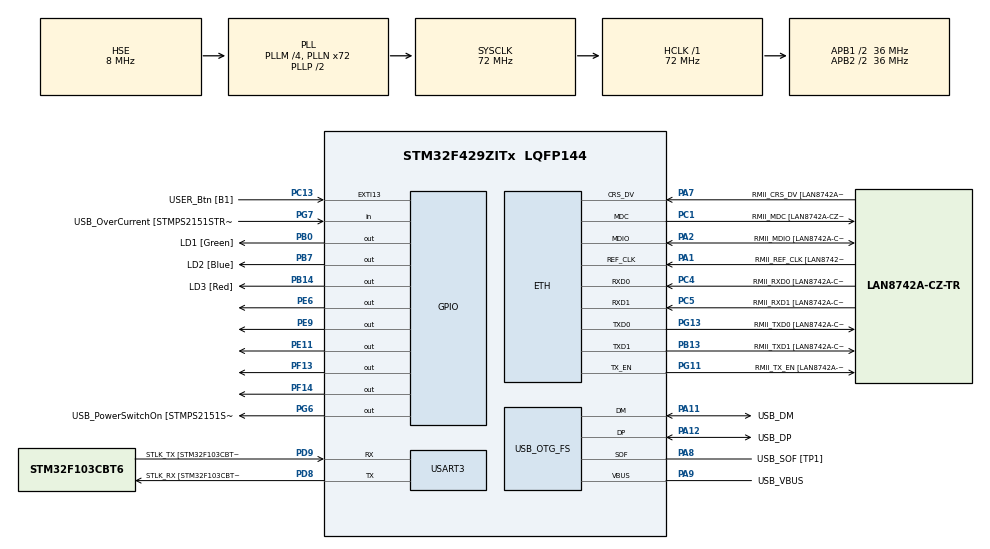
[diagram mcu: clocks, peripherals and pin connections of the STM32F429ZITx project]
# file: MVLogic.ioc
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ETH.MediaInterface=ETH_MEDIA_INTERFACE_RMII
ETH.PHY_Name=LAN8742A_PHY_ADDRESS
ETH.PHY_Value=0
ETH.PhyAddress=0
Mcu.Family=STM32F4
Mcu.Name=STM32F429ZITx
Mcu.Package=LQFP144
NVIC.PriorityGroup=NVIC_PRIORITYGROUP_4
NVIC.TIM3_IRQn=true\:0\:0\:false\:false\:true\:true\:true
NVIC.TIM4_IRQn=true\:0\:0\:false\:false\:true\:true\:true
NVIC.USART3_IRQn=true\:0\:0\:false\:true\:true\:1\:true\:true
PA1.GPIO_Label=RMII_REF_CLK [LAN8742A-CZ-TR_REFCLK0]
PA1.Mode=RMII
PA1.Signal=ETH_REF_CLK
PA10.GPIO_Label=USB_ID
PA10.Signal=USB_OTG_FS_ID
PA11.GPIO_Label=USB_DM
PA11.Mode=Device_Only
PA11.Signal=USB_OTG_FS_DM
PA12.GPIO_Label=USB_DP
PA12.Mode=Device_Only
PA12.Signal=USB_OTG_FS_DP
PA13.GPIO_Label=TMS
PA13.Mode=Serial_Wire
PA13.Signal=SYS_JTMS-SWDIO
PA14.GPIO_Label=TCK
PA14.Mode=Serial_Wire
PA14.Signal=SYS_JTCK-SWCLK
PA2.GPIO_Label=RMII_MDIO [LAN8742A-CZ-TR_MDIO]
PA2.Mode=RMII
PA2.Signal=ETH_MDIO
PA7.GPIO_Label=RMII_CRS_DV [LAN8742A-CZ-TR_CRS_DV]
PA7.Mode=RMII
PA7.Signal=ETH_CRS_DV
PA8.GPIO_Label=USB_SOF [TP1]
PA8.Mode=Activate_SOF_FS
PA8.Signal=USB_OTG_FS_SOF
PA9.GPIO_Label=USB_VBUS
PA9.Mode=Activate_VBUS
PA9.Signal=USB_OTG_FS_VBUS
PB0.GPIO_Label=LD1 [Green]
PB0.Signal=GPIO_Output
PB13.GPIO_Label=RMII_TXD1 [LAN8742A-CZ-TR_TXD1]
PB13.Mode=RMII
PB13.Signal=ETH_TXD1
PB14.GPIO_Label=LD3 [Red]
PB14.Signal=GPIO_Output
PB7.GPIO_Label=LD2 [Blue]
PB7.Signal=GPIO_Output
PC1.GPIO_Label=RMII_MDC [LAN8742A-CZ-TR_MDC]
PC1.Mode=RMII
PC1.Signal=ETH_MDC
PC13.GPIO_Label=USER_Btn [B1]
PC13.Signal=GPXTI13
PC14/OSC32_IN.Mode=LSE-External-Oscillator
PC14/OSC32_IN.Signal=RCC_OSC32_IN
PC15/OSC32_OUT.Mode=LSE-External-Oscillator
PC15/OSC32_OUT.Signal=RCC_OSC32_OUT
PC4.GPIO_Label=RMII_RXD0 [LAN8742A-CZ-TR_RXD0]
PC4.Mode=RMII
PC4.Signal=ETH_RXD0
PC5.GPIO_Label=RMII_RXD1 [LAN8742A-CZ-TR_RXD1]
PC5.Mode=RMII
PC5.Signal=ETH_RXD1
PD8.GPIO_Label=STLK_RX [STM32F103CBT6_PA3]
PD8.Mode=Asynchronous
PD8.Signal=USART3_TX
PD9.GPIO_Label=STLK_TX [STM32F103CBT6_PA2]
PD9.Mode=Asynchronous
PD9.Signal=USART3_RX
PE11.Signal=GPIO_Output
PE6.Signal=GPIO_Output
PE9.Signal=GPIO_Output
PF13.Signal=GPIO_Output
PF14.Signal=GPIO_Output
PG11.GPIO_Label=RMII_TX_EN [LAN8742A-CZ-TR_TXEN]
PG11.Mode=RMII
PG11.Signal=ETH_TX_EN
PG13.GPIO_Label=RMII_TXD0 [LAN8742A-CZ-TR_TXD0]
PG13.Mode=RMII
PG13.Signal=ETH_TXD0
PG6.GPIO_Label=USB_PowerSwitchOn [STMPS2151STR_EN]
PG6.Signal=GPIO_Output
PG7.GPIO_Label=USB_OverCurrent [STMPS2151STR_FAULT]
PG7.Signal=GPIO_Input
PH0/OSC_IN.GPIO_Label=MCO [STM32F103CBT6_PA8]
PH0/OSC_IN.Mode=HSE-External-Clock-Source
PH0/OSC_IN.Signal=RCC_OSC_IN
PH1/OSC_OUT.Mode=HSE-External-Clock-Source
PH1/OSC_OUT.Signal=RCC_OSC_OUT
ProjectManager.HeapSize=0x200
ProjectManager.StackSize=0x400
ProjectManager.TargetToolchain=STM32CubeIDE
RCC.48MHZClocksFreq_Value=48000000
RCC.AHBFreq_Value=72000000
RCC.APB1CLKDivider=RCC_HCLK_DIV2
RCC.APB1Freq_Value=36000000
RCC.APB1TimFreq_Value=72000000
RCC.APB2CLKDivider=RCC_HCLK_DIV2
RCC.APB2Freq_Value=36000000
RCC.APB2TimFreq_Value=72000000
RCC.CortexFreq_Value=72000000
RCC.HCLKFreq_Value=72000000
RCC.HSE_VALUE=8000000
RCC.HSI_VALUE=16000000
RCC.PLLM=4
RCC.PLLMUL=RCC_PLL_MUL9
RCC.PLLN=72
RCC.PLLQ=3
RCC.PRESCALERUSB=RCC_USBCLKSOURCE_PLL_DIV1_5
RCC.SYSCLKFreq_VALUE=72000000
RCC.SYSCLKSource=RCC_SYSCLKSOURCE_PLLCLK
RCC.SYSCLKSourceVirtual=RCC_SYSCLKSOURCE_PLLCLK
RCC.USBFreq_Value=48000000
RCC.VCOOutputFreq_Value=144000000
TIM2.Period=0xffff
TIM2.Prescaler=72
TIM3.Period=10-1
TIM3.Prescaler=72
TIM4.Period=100-1
TIM4.Prescaler=72
USART3.VirtualMode=VM_ASYNC
USB_OTG_FS.VirtualMode=Device_Only
VP_TIM2_VS_ClockSourceINT.Mode=Internal
VP_TIM3_VS_ClockSourceINT.Mode=Internal
VP_TIM4_VS_ClockSourceINT.Mode=Internal
board=NUCLEO-F429ZI

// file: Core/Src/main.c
/* USER CODE BEGIN Header */
/**
  ******************************************************************************
  * @file           : main.c
  * @brief          : Main program body
  ******************************************************************************
  * @attention
  *
  * <h2><center>&copy; Copyright (c) 2020 STMicroelectronics.
  * All rights reserved.</center></h2>
  *
  * This software component is licensed by ST under BSD 3-Clause license,
  * the "License"; You may not use this file except in compliance with the
  * License. You may obtain a copy of the License at:
  *                        opensource.org/licenses/BSD-3-Clause
  *
  ******************************************************************************
  */
/* USER CODE END Header */

#include "main.h"
#include "eth.h"
#include "tim.h"
#include "usart.h"
#include "usb_otg.h"
#include "gpio.h"

/* USER CODE BEGIN Includes */
/* USER CODE BEGIN Includes */
#include "MVCD_ST7920lib.h"
#include "bitmaps.h"
#include "MVL.h"
#include <stdlib.h>
/* USER CODE END Includes */

/* USER CODE BEGIN PTD */
int _write(int file, char *p, int len){
	HAL_UART_Transmit(&huart3, p, len, 10);
}
/* USER CODE END PTD */

void SystemClock_Config(void);
static void MX_NVIC_Init(void);
/* USER CODE BEGIN PFP */
uint8_t rx3_data;
int rxlevel=0;

char portnums[2] = "13";
int portnumcount;
char portname;

GPIO_TypeDef* portnameT;
int portnum;
int cycle;
int bits;
_Bool SFlag;
/* USER CODE END PFP */

int main(void)
{

  /* MCU Configuration--------------------------------------------------------*/

  /* Reset of all peripherals, Initializes the Flash interface and the Systick. */
  HAL_Init();

  /* Configure the system clock */
  SystemClock_Config();

  /* Initialize all configured peripherals */
  MX_GPIO_Init();
  MX_ETH_Init();
  MX_USART3_UART_Init();
  MX_USB_OTG_FS_PCD_Init();
  MX_TIM2_Init();
  MX_TIM3_Init();
  MX_TIM4_Init();

  /* Initialize interrupts */
  MX_NVIC_Init();
  /* USER CODE BEGIN 2 */
  HAL_TIM_Base_Start(&htim2);
  MVCD_ST7920_baseinit();
  MVCD_ST7920_GraphicMode(ON);
  MVCD_LCDclear();
  HAL_Delay(1);
  HAL_TIM_Base_Start_IT(&htim3);
  HAL_TIM_Base_Start_IT(&htim4);
  HAL_UART_Receive_IT(&huart3, &rx3_data, 1);

//  MVCD_DrawBitmap(cubelogo);
//  HAL_Delay(5000);

//  for(int i=0;i<50;i++){
//
//
//
//
//  }

//  while(1);
  /* USER CODE END 2 */

  /* Infinite loop */
  /* USER CODE BEGIN WHILE */
  while (1)
  {
//	  HAL_GPIO_WritePin(GPIOB, GPIO_PIN_0, GPIO_PIN_SET);
//	  MVCD_delay_us(10000);
//	  HAL_GPIO_WritePin(GPIOB, GPIO_PIN_0, GPIO_PIN_RESET);
//	  for(int i=0;i<2;i++) MVCD_delay_us(10000);
//	  HAL_GPIO_TogglePin(GPIOB, GPIO_PIN_0);
//	  MVCD_delay_us(10000);
    /* USER CODE END WHILE */

  }
}

void SystemClock_Config(void)
{
  RCC_OscInitTypeDef RCC_OscInitStruct = {0};
  RCC_ClkInitTypeDef RCC_ClkInitStruct = {0};

  /** Configure the main internal regulator output voltage
  */
  __HAL_RCC_PWR_CLK_ENABLE();
  __HAL_PWR_VOLTAGESCALING_CONFIG(PWR_REGULATOR_VOLTAGE_SCALE3);
  /** Initializes the CPU, AHB and APB busses clocks
  */
  RCC_OscInitStruct.OscillatorType = RCC_OSCILLATORTYPE_HSE;
  RCC_OscInitStruct.HSEState = RCC_HSE_BYPASS;
  RCC_OscInitStruct.PLL.PLLState = RCC_PLL_ON;
  RCC_OscInitStruct.PLL.PLLSource = RCC_PLLSOURCE_HSE;
  RCC_OscInitStruct.PLL.PLLM = 4;
  RCC_OscInitStruct.PLL.PLLN = 72;
  RCC_OscInitStruct.PLL.PLLP = RCC_PLLP_DIV2;
  RCC_OscInitStruct.PLL.PLLQ = 3;
  if (HAL_RCC_OscConfig(&RCC_OscInitStruct) != HAL_OK)
  {
    Error_Handler();
  }
  /** Initializes the CPU, AHB and APB busses clocks
  */
  RCC_ClkInitStruct.ClockType = RCC_CLOCKTYPE_HCLK|RCC_CLOCKTYPE_SYSCLK
                              |RCC_CLOCKTYPE_PCLK1|RCC_CLOCKTYPE_PCLK2;
  RCC_ClkInitStruct.SYSCLKSource = RCC_SYSCLKSOURCE_PLLCLK;
  RCC_ClkInitStruct.AHBCLKDivider = RCC_SYSCLK_DIV1;
  RCC_ClkInitStruct.APB1CLKDivider = RCC_HCLK_DIV2;
  RCC_ClkInitStruct.APB2CLKDivider = RCC_HCLK_DIV2;

  if (HAL_RCC_ClockConfig(&RCC_ClkInitStruct, FLASH_LATENCY_2) != HAL_OK)
  {
    Error_Handler();
  }
}

/**
  * @brief NVIC Configuration.
  * @retval None
  */
static void MX_NVIC_Init(void)
{
  /* USART3_IRQn interrupt configuration */
  HAL_NVIC_SetPriority(USART3_IRQn, 0, 0);
  HAL_NVIC_EnableIRQ(USART3_IRQn);
}

/* USER CODE BEGIN 4 */
void HAL_UART_RxCpltCallback(UART_HandleTypeDef *huart){
	if(huart->Instance == USART3){
		HAL_GPIO_WritePin(GPIOB, GPIO_PIN_7, GPIO_PIN_SET);
		HAL_UART_Receive_IT(&huart3, &rx3_data, 1);
		if(rx3_data == 'X'){
			HAL_UART_Transmit(&huart3, &rx3_data, 1, 10);
		}
		if(rx3_data == 'S'){
			portname=0;
			portnum=0;
			portnumcount=0;
			bits=0;
			cycle=0;
			rxlevel=0;
			rxlevel++;
		}

		if(rxlevel==1){
			if(rx3_data == 'N'){
				rxlevel++;
			}
			else{
				portname = rx3_data;
				switch(portname){
					case 'a' : portnameT = GPIOA; break;
					case 'b' : portnameT = GPIOB; break;
					case 'c' : portnameT = GPIOC; break;
					case 'd' : portnameT = GPIOD; break;
					case 'e' : portnameT = GPIOE; break;
					case 'f' : portnameT = GPIOF; break;
					case 'g' : portnameT = GPIOG; break;

				}
			}
		}
		else if(rxlevel==2){
			if(rx3_data == 'B'){
				portnum = atoi(portnums);
				rxlevel++;
			}
			portnums[portnumcount] = rx3_data;
			portnumcount++;

		}
		else if(rxlevel==3){
			if(rx3_data == 'C'){
				rxlevel++;
			}
			else bits = rx3_data - '0';
		}
		else if(rxlevel==4){
			if(rx3_data == 'E'){

				printf(" name : %c num : %d bit :%d cycle :%d \n",portname,portnum,bits,cycle);
				SFlag = 1;
			}
			else cycle = rx3_data - '0';
		}

	}
}
/* USER CODE END 4 */

void Error_Handler(void)
{
}

/************************ (C) COPYRIGHT STMicroelectronics *****END OF FILE****/
